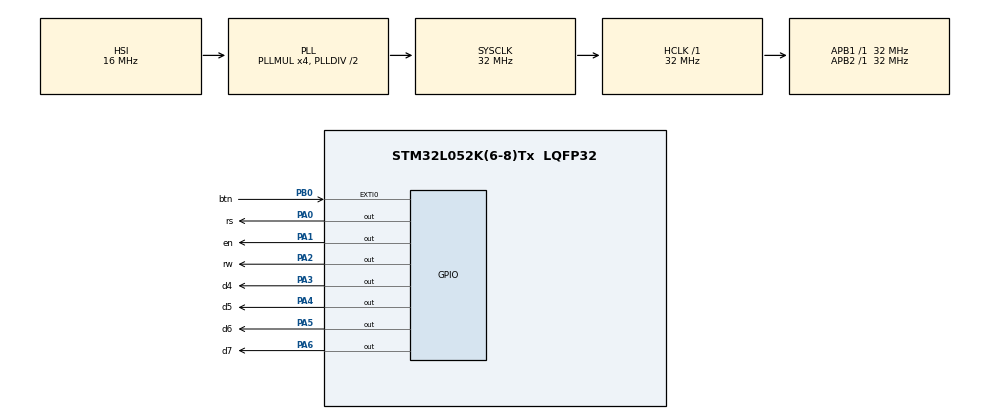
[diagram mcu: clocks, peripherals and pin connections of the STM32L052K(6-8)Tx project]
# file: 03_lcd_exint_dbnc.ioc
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Mcu.Family=STM32L0
Mcu.Name=STM32L052K(6-8)Tx
Mcu.Package=LQFP32
NVIC.EXTI0_1_IRQn=true\:0\:0\:false\:false\:true\:true\:true
NVIC.TIM2_IRQn=true\:0\:0\:false\:false\:true\:true\:true
PA0.GPIO_Label=rs
PA0.Signal=GPIO_Output
PA1.GPIO_Label=en
PA1.Signal=GPIO_Output
PA2.GPIO_Label=rw
PA2.Signal=GPIO_Output
PA3.GPIO_Label=d4
PA3.Signal=GPIO_Output
PA4.GPIO_Label=d5
PA4.Signal=GPIO_Output
PA5.GPIO_Label=d6
PA5.Signal=GPIO_Output
PA6.GPIO_Label=d7
PA6.Signal=GPIO_Output
PB0.GPIO_Label=btn
PB0.GPIO_ModeDefaultEXTI=GPIO_MODE_IT_FALLING
PB0.GPIO_PuPd=GPIO_PULLUP
PB0.Signal=GPXTI0
ProjectManager.HeapSize=0x200
ProjectManager.StackSize=0x400
ProjectManager.TargetToolchain=TrueSTUDIO
RCC.AHBFreq_Value=32000000
RCC.APB1Freq_Value=32000000
RCC.APB1TimFreq_Value=32000000
RCC.APB2Freq_Value=32000000
RCC.APB2TimFreq_Value=32000000
RCC.HCLKFreq_Value=32000000
RCC.HSI16_VALUE=16000000
RCC.HSI48_VALUE=48000000
RCC.HSI_VALUE=16000000
RCC.LSE_VALUE=32768
RCC.MSI_VALUE=2097000
RCC.PLLMUL=RCC_PLLMUL_4
RCC.SYSCLKFreq_VALUE=32000000
RCC.SYSCLKSource=RCC_SYSCLKSOURCE_PLLCLK
RCC.VCOOutputFreq_Value=64000000
TIM2.Period=50
TIM2.Prescaler=32000
VP_TIM2_VS_ClockSourceINT.Mode=Internal
board=custom

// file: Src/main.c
/* USER CODE BEGIN Header */
/**
 ******************************************************************************
 * @file           : main.c
 * @brief          : Main program body
 ******************************************************************************
 * @attention
 *
 * <h2><center>&copy; Copyright (c) 2020 STMicroelectronics.
 * All rights reserved.</center></h2>
 *
 * This software component is licensed by ST under BSD 3-Clause license,
 * the "License"; You may not use this file except in compliance with the
 * License. You may obtain a copy of the License at:
 *                        opensource.org/licenses/BSD-3-Clause
 *
 ******************************************************************************
 */
/* USER CODE END Header */

#include "main.h"

/* USER CODE BEGIN Includes */
#include <stdio.h> // for sprintf
#include <stdint.h> // for uint8_t, uint16_t,..
#include <stdbool.h> // for bool
#include "lcd.h"
/* USER CODE END Includes */

TIM_HandleTypeDef htim2;

void SystemClock_Config(void);
static void MX_GPIO_Init(void);
static void MX_TIM2_Init(void);

/* USER CODE BEGIN 0 */

#define CLEAR_LCD_ONCE if (!theFlag) { theFlag = 1; LCD_Clear();}
volatile bool bUpdate = false;
volatile bool bFlag = true;
void HAL_GPIO_EXTI_Callback(uint16_t GPIO_Pin) {
	if (GPIO_Pin == btn_Pin && bFlag == true) {
		HAL_TIM_Base_Start_IT(&htim2);
		bFlag = false;
	} else {
		__NOP();
	}
}

void HAL_TIM_PeriodElapsedCallback(TIM_HandleTypeDef *htim) {
	if (HAL_GPIO_ReadPin(btn_GPIO_Port, btn_Pin) == GPIO_PIN_RESET) {
//		HAL_GPIO_TogglePin(GPIOD, GPIO_PIN_12);

		bUpdate = true;
		bFlag = true;
		HAL_TIM_Base_Stop_IT(&htim2);
	}
}
/* USER CODE END 0 */

int main(void)
{
  /* USER CODE BEGIN 1 */
	uint32_t i = 0;
	char buf[6];
	bool theFlag = 0;
  /* USER CODE END 1 */

  /* MCU Configuration--------------------------------------------------------*/

  /* Reset of all peripherals, Initializes the Flash interface and the Systick. */
  HAL_Init();

  /* Configure the system clock */
  SystemClock_Config();

  /* Initialize all configured peripherals */
  MX_GPIO_Init();
  MX_TIM2_Init();
  /* USER CODE BEGIN 2 */
	LCD_Init();
	sprintf(buf, "Starting...");
	LCD_Puts(0, 0, buf);
  /* USER CODE END 2 */

  /* Infinite loop */
  /* USER CODE BEGIN WHILE */
	while (1) {

		if (bUpdate) {
			CLEAR_LCD_ONCE
			bUpdate = false;
			sprintf(buf, "i: %d", (int)i++);
			LCD_Puts(0, 0, buf);

		}
    /* USER CODE END WHILE */

	}
}

void SystemClock_Config(void)
{
  RCC_OscInitTypeDef RCC_OscInitStruct = {0};
  RCC_ClkInitTypeDef RCC_ClkInitStruct = {0};

  /** Configure the main internal regulator output voltage
  */
  __HAL_PWR_VOLTAGESCALING_CONFIG(PWR_REGULATOR_VOLTAGE_SCALE1);
  /** Initializes the CPU, AHB and APB busses clocks
  */
  RCC_OscInitStruct.OscillatorType = RCC_OSCILLATORTYPE_HSI;
  RCC_OscInitStruct.HSIState = RCC_HSI_ON;
  RCC_OscInitStruct.HSICalibrationValue = RCC_HSICALIBRATION_DEFAULT;
  RCC_OscInitStruct.PLL.PLLState = RCC_PLL_ON;
  RCC_OscInitStruct.PLL.PLLSource = RCC_PLLSOURCE_HSI;
  RCC_OscInitStruct.PLL.PLLMUL = RCC_PLLMUL_4;
  RCC_OscInitStruct.PLL.PLLDIV = RCC_PLLDIV_2;
  if (HAL_RCC_OscConfig(&RCC_OscInitStruct) != HAL_OK)
  {
    Error_Handler();
  }
  /** Initializes the CPU, AHB and APB busses clocks
  */
  RCC_ClkInitStruct.ClockType = RCC_CLOCKTYPE_HCLK|RCC_CLOCKTYPE_SYSCLK
                              |RCC_CLOCKTYPE_PCLK1|RCC_CLOCKTYPE_PCLK2;
  RCC_ClkInitStruct.SYSCLKSource = RCC_SYSCLKSOURCE_PLLCLK;
  RCC_ClkInitStruct.AHBCLKDivider = RCC_SYSCLK_DIV1;
  RCC_ClkInitStruct.APB1CLKDivider = RCC_HCLK_DIV1;
  RCC_ClkInitStruct.APB2CLKDivider = RCC_HCLK_DIV1;

  if (HAL_RCC_ClockConfig(&RCC_ClkInitStruct, FLASH_LATENCY_1) != HAL_OK)
  {
    Error_Handler();
  }
}

static void MX_TIM2_Init(void)
{

  TIM_ClockConfigTypeDef sClockSourceConfig = {0};
  TIM_MasterConfigTypeDef sMasterConfig = {0};

  htim2.Instance = TIM2;
  htim2.Init.Prescaler = 32000;
  htim2.Init.CounterMode = TIM_COUNTERMODE_UP;
  htim2.Init.Period = 50;
  htim2.Init.ClockDivision = TIM_CLOCKDIVISION_DIV1;
  htim2.Init.AutoReloadPreload = TIM_AUTORELOAD_PRELOAD_DISABLE;
  if (HAL_TIM_Base_Init(&htim2) != HAL_OK)
  {
    Error_Handler();
  }
  sClockSourceConfig.ClockSource = TIM_CLOCKSOURCE_INTERNAL;
  if (HAL_TIM_ConfigClockSource(&htim2, &sClockSourceConfig) != HAL_OK)
  {
    Error_Handler();
  }
  sMasterConfig.MasterOutputTrigger = TIM_TRGO_RESET;
  sMasterConfig.MasterSlaveMode = TIM_MASTERSLAVEMODE_DISABLE;
  if (HAL_TIMEx_MasterConfigSynchronization(&htim2, &sMasterConfig) != HAL_OK)
  {
    Error_Handler();
  }

}

static void MX_GPIO_Init(void)
{
  GPIO_InitTypeDef GPIO_InitStruct = {0};

  /* GPIO Ports Clock Enable */
  __HAL_RCC_GPIOA_CLK_ENABLE();
  __HAL_RCC_GPIOB_CLK_ENABLE();

  /*Configure GPIO pin Output Level */
  HAL_GPIO_WritePin(GPIOA, rs_Pin|en_Pin|rw_Pin|d4_Pin
                          |d5_Pin|d6_Pin|d7_Pin, GPIO_PIN_RESET);

  /*Configure GPIO pins : rs_Pin en_Pin rw_Pin d4_Pin
                           d5_Pin d6_Pin d7_Pin */
  GPIO_InitStruct.Pin = rs_Pin|en_Pin|rw_Pin|d4_Pin
                          |d5_Pin|d6_Pin|d7_Pin;
  GPIO_InitStruct.Mode = GPIO_MODE_OUTPUT_PP;
  GPIO_InitStruct.Pull = GPIO_NOPULL;
  GPIO_InitStruct.Speed = GPIO_SPEED_FREQ_LOW;
  HAL_GPIO_Init(GPIOA, &GPIO_InitStruct);

  /*Configure GPIO pin : btn_Pin */
  GPIO_InitStruct.Pin = btn_Pin;
  GPIO_InitStruct.Mode = GPIO_MODE_IT_FALLING;
  GPIO_InitStruct.Pull = GPIO_PULLUP;
  HAL_GPIO_Init(btn_GPIO_Port, &GPIO_InitStruct);

  /* EXTI interrupt init*/
  HAL_NVIC_SetPriority(EXTI0_1_IRQn, 0, 0);
  HAL_NVIC_EnableIRQ(EXTI0_1_IRQn);

}

void Error_Handler(void)
{
}

/************************ (C) COPYRIGHT STMicroelectronics *****END OF FILE****/
